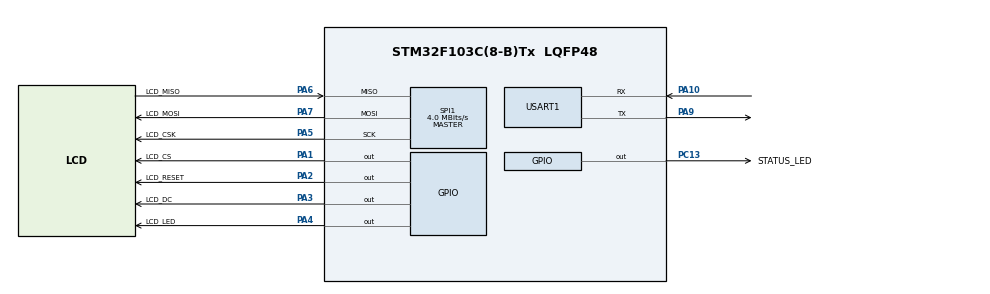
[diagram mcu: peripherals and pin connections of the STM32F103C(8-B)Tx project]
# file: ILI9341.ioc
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Mcu.Family=STM32F1
Mcu.Name=STM32F103C(8-B)Tx
Mcu.Package=LQFP48
NVIC.PriorityGroup=NVIC_PRIORITYGROUP_4
PA1.GPIO_Label=LCD_CS
PA1.Signal=GPIO_Output
PA10.Mode=Asynchronous
PA10.Signal=USART1_RX
PA13.Mode=Serial_Wire
PA13.Signal=SYS_JTMS-SWDIO
PA14.Mode=Serial_Wire
PA14.Signal=SYS_JTCK-SWCLK
PA2.GPIO_Label=LCD_RESET
PA2.PinState=GPIO_PIN_RESET
PA2.Signal=GPIO_Output
PA3.GPIO_Label=LCD_DC
PA3.PinState=GPIO_PIN_RESET
PA3.Signal=GPIO_Output
PA4.GPIO_Label=LCD_LED
PA4.Signal=GPIO_Output
PA5.GPIO_Label=LCD_CSK
PA5.Mode=Full_Duplex_Master
PA5.Signal=SPI1_SCK
PA6.GPIO_Label=LCD_MISO
PA6.Mode=Full_Duplex_Master
PA6.Signal=SPI1_MISO
PA7.GPIO_Label=LCD_MOSI
PA7.Mode=Full_Duplex_Master
PA7.Signal=SPI1_MOSI
PA9.Mode=Asynchronous
PA9.Signal=USART1_TX
PC13-TAMPER-RTC.GPIO_Label=STATUS_LED
PC13-TAMPER-RTC.Signal=GPIO_Output
ProjectManager.HeapSize=0x200
ProjectManager.StackSize=0x400
ProjectManager.TargetToolchain=Makefile
RCC.APB1Freq_Value=8000000
RCC.APB2Freq_Value=8000000
SPI1.CalculateBaudRate=4.0 MBits/s
SPI1.Direction=SPI_DIRECTION_2LINES
SPI1.Mode=SPI_MODE_MASTER
SPI1.VirtualType=VM_MASTER
USART1.VirtualMode=VM_ASYNC
board=ILI9341

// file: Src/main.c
/**
  ******************************************************************************
  * File Name          : main.c
  * Description        : Main program body
  ******************************************************************************
  ** This notice applies to any and all portions of this file
  * that are not between comment pairs USER CODE BEGIN and
  * USER CODE END. Other portions of this file, whether
  * inserted by the user or by software development tools
  * are owned by their respective copyright owners.
  *
  * COPYRIGHT(c) 2017 STMicroelectronics
  *
  * Redistribution and use in source and binary forms, with or without modification,
  * are permitted provided that the following conditions are met:
  *   1. Redistributions of source code must retain the above copyright notice,
  *      this list of conditions and the following disclaimer.
  *   2. Redistributions in binary form must reproduce the above copyright notice,
  *      this list of conditions and the following disclaimer in the documentation
  *      and/or other materials provided with the distribution.
  *   3. Neither the name of STMicroelectronics nor the names of its contributors
  *      may be used to endorse or promote products derived from this software
  *      without specific prior written permission.
  *
  * THIS SOFTWARE IS PROVIDED BY THE COPYRIGHT HOLDERS AND CONTRIBUTORS "AS IS"
  * AND ANY EXPRESS OR IMPLIED WARRANTIES, INCLUDING, BUT NOT LIMITED TO, THE
  * IMPLIED WARRANTIES OF MERCHANTABILITY AND FITNESS FOR A PARTICULAR PURPOSE ARE
  * DISCLAIMED. IN NO EVENT SHALL THE COPYRIGHT HOLDER OR CONTRIBUTORS BE LIABLE
  * FOR ANY DIRECT, INDIRECT, INCIDENTAL, SPECIAL, EXEMPLARY, OR CONSEQUENTIAL
  * DAMAGES (INCLUDING, BUT NOT LIMITED TO, PROCUREMENT OF SUBSTITUTE GOODS OR
  * SERVICES; LOSS OF USE, DATA, OR PROFITS; OR BUSINESS INTERRUPTION) HOWEVER
  * CAUSED AND ON ANY THEORY OF LIABILITY, WHETHER IN CONTRACT, STRICT LIABILITY,
  * OR TORT (INCLUDING NEGLIGENCE OR OTHERWISE) ARISING IN ANY WAY OUT OF THE USE
  * OF THIS SOFTWARE, EVEN IF ADVISED OF THE POSSIBILITY OF SUCH DAMAGE.
  *
  ******************************************************************************
  */
#include "main.h"
#include "stm32f1xx_hal.h"
#include "spi.h"
#include "usart.h"
#include "gpio.h"

/* USER CODE BEGIN Includes */
#include "ILI9341.h"

void stled_on(void) {
    HAL_GPIO_WritePin(STATUS_LED_GPIO_Port, STATUS_LED_Pin, GPIO_PIN_SET);
}

void stled_off(void) {
    HAL_GPIO_WritePin(STATUS_LED_GPIO_Port, STATUS_LED_Pin, GPIO_PIN_RESET);
}

/* USER CODE END Includes */

/* USER CODE BEGIN PV */
/* Private variables ---------------------------------------------------------*/

/* USER CODE END PV */

void SystemClock_Config(void);

/* USER CODE BEGIN PFP */
/* Private function prototypes -----------------------------------------------*/

/* USER CODE END PFP */

int main(void)
{

  /* MCU Configuration----------------------------------------------------------*/

  /* Reset of all peripherals, Initializes the Flash interface and the Systick. */
  HAL_Init();

  /* Configure the system clock */
  SystemClock_Config();

  /* Initialize all configured peripherals */
  MX_GPIO_Init();
  MX_SPI1_Init();
  MX_USART1_UART_Init();

  /* USER CODE BEGIN 2 */
  lcd_reset();
  HAL_GPIO_WritePin(GPIOA, LCD_LED_Pin, GPIO_PIN_SET);
  ILI9341_begin(&hspi1);

  /* USER CODE END 2 */

  /* Infinite loop */
  while (1)
  {

  /* USER CODE BEGIN 3 */
  ILI9341_fillScreen(ILI9341_MAGENTA);
  ILI9341_fillCircle(100, 100, 50, ILI9341_BLACK);
  stled_on();
  HAL_Delay(10);
  ILI9341_fillScreen(ILI9341_NAVY);
  ILI9341_fillCircle(110, 110, 40, ILI9341_BLACK);
  stled_off();
  HAL_Delay(10);
  ILI9341_fillScreen(ILI9341_CYAN);
  ILI9341_fillCircle(120, 120, 30, ILI9341_BLACK);
  stled_on();
  HAL_Delay(10);
  ILI9341_fillScreen(ILI9341_OLIVE);
  ILI9341_fillCircle(130, 130, 20, ILI9341_BLACK);
  stled_off();
  HAL_Delay(10);
  }
  /* USER CODE END 3 */

}

/** System Clock Configuration
*/
void SystemClock_Config(void)
{

  RCC_OscInitTypeDef RCC_OscInitStruct;
  RCC_ClkInitTypeDef RCC_ClkInitStruct;

    /**Initializes the CPU, AHB and APB busses clocks
    */
  RCC_OscInitStruct.OscillatorType = RCC_OSCILLATORTYPE_HSI;
  RCC_OscInitStruct.HSIState = RCC_HSI_ON;
  RCC_OscInitStruct.HSICalibrationValue = 16;
  RCC_OscInitStruct.PLL.PLLState = RCC_PLL_NONE;
  if (HAL_RCC_OscConfig(&RCC_OscInitStruct) != HAL_OK)
  {
    _Error_Handler(__FILE__, __LINE__);
  }

    /**Initializes the CPU, AHB and APB busses clocks
    */
  RCC_ClkInitStruct.ClockType = RCC_CLOCKTYPE_HCLK|RCC_CLOCKTYPE_SYSCLK
                              |RCC_CLOCKTYPE_PCLK1|RCC_CLOCKTYPE_PCLK2;
  RCC_ClkInitStruct.SYSCLKSource = RCC_SYSCLKSOURCE_HSI;
  RCC_ClkInitStruct.AHBCLKDivider = RCC_SYSCLK_DIV1;
  RCC_ClkInitStruct.APB1CLKDivider = RCC_HCLK_DIV1;
  RCC_ClkInitStruct.APB2CLKDivider = RCC_HCLK_DIV1;

  if (HAL_RCC_ClockConfig(&RCC_ClkInitStruct, FLASH_LATENCY_0) != HAL_OK)
  {
    _Error_Handler(__FILE__, __LINE__);
  }

    /**Configure the Systick interrupt time
    */
  HAL_SYSTICK_Config(HAL_RCC_GetHCLKFreq()/1000);

    /**Configure the Systick
    */
  HAL_SYSTICK_CLKSourceConfig(SYSTICK_CLKSOURCE_HCLK);

  /* SysTick_IRQn interrupt configuration */
  HAL_NVIC_SetPriority(SysTick_IRQn, 0, 0);
}

void _Error_Handler(char * file, int line)
{
  while(1)
  {
  }
}

/************************ (C) COPYRIGHT STMicroelectronics *****END OF FILE****/
